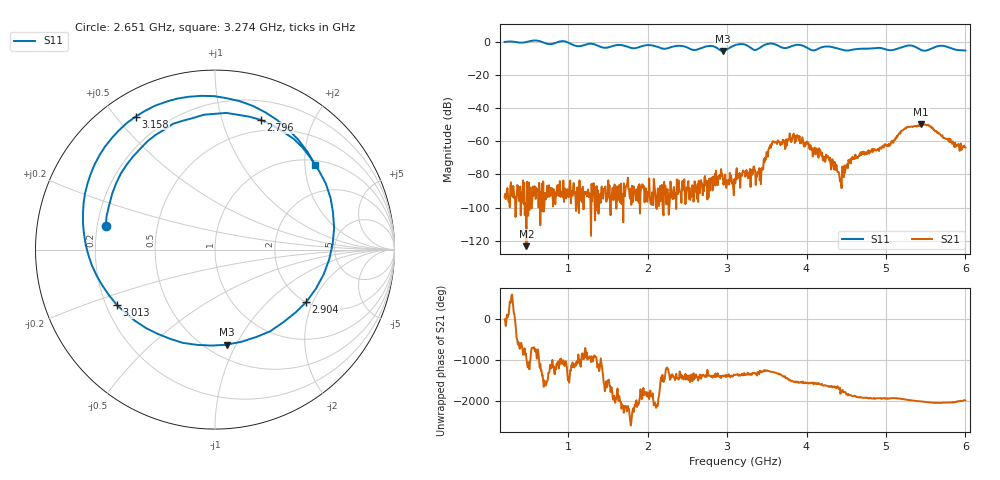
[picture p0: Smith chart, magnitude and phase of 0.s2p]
! NanoVNA-App
! Date: 2024-06-25 16:10:32
! Start: 200MHz Stop: 6GHz Points: 801
! S-Parameter data: F S11 S21 S12 S22
# Hz S RI R 50
!  Frequency  S11_Real  S11_Imag  S21_Real  S21_Imag  S12_Real  S12_Imag  S22_Real  S22_Imag
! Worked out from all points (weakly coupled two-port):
!   801 points, 200 MHz to 6 GHz, reference 50 ohm
!   highest |S21| = -49.76 dB at 5.442 GHz (marker M1); lowest = -123.3 dB at 475.5 MHz (marker M2)
!   lowest |S11| = -5.5 dB at 2.948 GHz (marker M3), VSWR 3.29, Z = 30.9 - j45.8 ohm
!   |S11| at or under -10 dB: nowhere
!   S12 and S22 are empty: the file has one direction only
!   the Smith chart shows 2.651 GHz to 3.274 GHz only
!   S11 on the Smith chart (normalised r, x): 2.651 GHz: 0.23, +0.10; 2.796 GHz: 0.38, +1.34; 2.904 GHz: 2.00, -1.79; 3.013 GHz: 0.24, -0.25; 3.158 GHz: 0.10, +0.56; 3.274 GHz: 1.13, +2.26
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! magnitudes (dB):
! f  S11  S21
! 200 MHz  0.0  -93.8
! 475.5 MHz  0.0  -123.3
! 1.171 GHz  -2.3  -96.6
! 2.136 GHz  -3.1  -88.7
! 2.651 GHz  -4.1  -86.0
! 2.796 GHz  -2.3  -85.0
! 2.904 GHz  -4.6  -80.4
! 2.948 GHz  -5.5  -82.2
! 3.013 GHz  -4.0  -86.1
! 3.1 GHz  -1.9  -85.4
! 3.158 GHz  -1.3  -79.1
! 3.274 GHz  -2.7  -79.0
! 3.426 GHz  -3.0  -85.9
! 3.586 GHz  -1.1  -60.3
! 3.861 GHz  -1.8  -56.7
! 4.072 GHz  -5.0  -64.2
! 4.412 GHz  -4.2  -80.1
! 4.593 GHz  -4.5  -70.8
! 5.036 GHz  -4.9  -61.5
! 5.246 GHz  -2.5  -52.1
! 5.442 GHz  -4.8  -49.8
! 6 GHz  -5.1  -63.7
